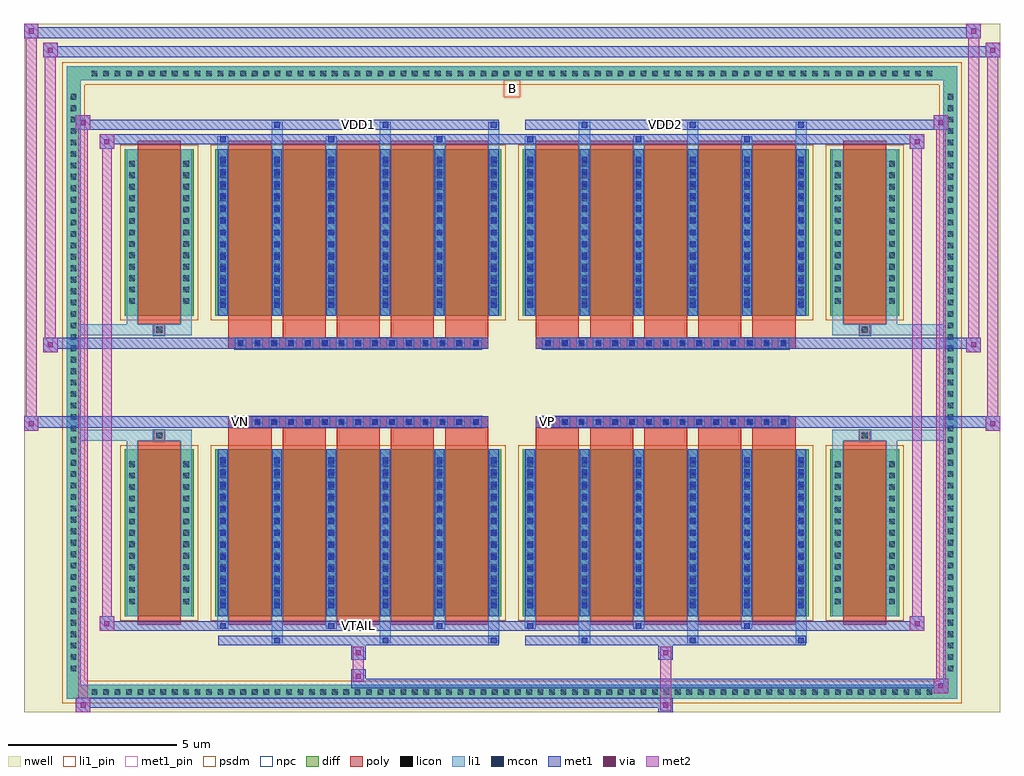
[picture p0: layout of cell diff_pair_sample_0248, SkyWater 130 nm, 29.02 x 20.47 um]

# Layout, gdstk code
import gdstk
lib = gdstk.Library(unit=1e-6, precision=5e-09)
def R(c, l, rs):  # rectangles x0, y0, x1, y1
    for r in rs: c.add(gdstk.rectangle(r[:2], r[2:], *l))
def A(c, l, x, y, w, h, nx, ny, dx, dy):  # array of equal rectangles
    R(c, l, [(x+i*dx, y+j*dy, x+i*dx+w, y+j*dy+h) for i in range(nx) for j in range(ny)])
def P(c, l, *ps):  # polygons
    for p in ps: c.add(gdstk.Polygon(p, *l))
nwell = (64, 20)
diff = (65, 20)
poly = (66, 20)
licon = (66, 44)
li1_pin = (67, 16)
li1 = (67, 20)
mcon = (67, 44)
met1_pin = (68, 16)
met1 = (68, 20)
via = (68, 44)
met2 = (69, 20)
psdm = (94, 20)
npc = (95, 20)

diff_pair_sample_0248 = lib.new_cell('diff_pair_sample_0248')
R(diff_pair_sample_0248, nwell, [(-14.51,-9.8,14.51,10.67), (-11.83,-7.99,-0.01,-0.805), (0.01,-7.99,11.83,-0.805), (-11.83,0.805,-0.01,7.99), (0.01,0.805,11.83,7.99)])
A(diff_pair_sample_0248, diff, -12.615, -9.4, 0.41, 0.41, 74, 2, 0.34, 18.39)
A(diff_pair_sample_0248, diff, -13.24, -8.705, 0.41, 0.41, 1, 51, 0, 0.34)
A(diff_pair_sample_0248, diff, 12.83, -8.705, 0.41, 0.41, 1, 51, 0, 0.34)
R(diff_pair_sample_0248, diff, [(-12.615,-9.4,12.615,-8.99), (-13.24,-8.705,-12.83,8.705), (12.83,-8.705,13.24,8.705), (-11.52,-6.945,-9.46,-1.985), (-8.82,-6.945,-0.32,-1.985), (0.32,-6.945,8.82,-1.985), (9.46,-6.945,11.52,-1.985), (-11.52,1.985,-9.46,6.945), (-8.82,1.985,-0.32,6.945), (0.32,1.985,8.82,6.945), (9.46,1.985,11.52,6.945), (-12.615,8.99,12.615,9.4)])
P(diff_pair_sample_0248, diff, [(13.24,9.4),(-13.24,9.4),(-13.24,-8.99),(-12.83,-8.99),(-12.83,8.99),(12.83,8.99),(12.83,-8.99),(-12.83,-8.99),(-13.24,-8.99),(-13.24,-9.4),(13.24,-9.4)])
A(diff_pair_sample_0248, poly, -8.43, -7.195, 1.28, 5.46, 5, 2, 1.61, 8.93)
A(diff_pair_sample_0248, poly, 0.71, -7.195, 1.28, 5.46, 5, 2, 1.61, 8.93)
A(diff_pair_sample_0248, poly, -8.43, -1.735, 1.28, 0.4, 5, 2, 1.61, 3.07)
A(diff_pair_sample_0248, poly, 0.71, -1.735, 1.28, 0.4, 5, 2, 1.61, 3.07)
A(diff_pair_sample_0248, poly, -8.235, -1.335, 0.33, 0.33, 15, 2, 0.5, 2.34)
A(diff_pair_sample_0248, poly, 0.905, -1.335, 0.33, 0.33, 15, 2, 0.5, 2.34)
R(diff_pair_sample_0248, poly, [(-11.13,-7.195,-9.85,-1.735), (9.85,-7.195,11.13,-1.735), (-10.655,-1.735,-10.325,-1.405), (-10.655,-1.735,-10.325,-1.405), (10.325,-1.735,10.655,-1.405), (10.325,-1.735,10.655,-1.405), (-8.43,-1.335,-0.71,-1.005), (0.71,-1.335,8.43,-1.005), (-8.43,1.005,-0.71,1.335), (0.71,1.005,8.43,1.335), (-10.655,1.405,-10.325,1.735), (-10.655,1.405,-10.325,1.735), (10.325,1.405,10.655,1.735), (10.325,1.405,10.655,1.735), (-11.13,1.735,-9.85,7.195), (9.85,1.735,11.13,7.195)])
A(diff_pair_sample_0248, licon, -12.495, -9.28, 0.17, 0.17, 74, 2, 0.34, 18.39)
A(diff_pair_sample_0248, licon, -13.12, -8.585, 0.17, 0.17, 1, 51, 0, 0.34)
A(diff_pair_sample_0248, licon, 12.95, -8.585, 0.17, 0.17, 1, 51, 0, 0.34)
A(diff_pair_sample_0248, licon, -11.38, -6.59, 0.17, 0.17, 1, 13, 0, 0.34)
A(diff_pair_sample_0248, licon, -9.77, -6.59, 0.17, 0.17, 1, 13, 0, 0.34)
A(diff_pair_sample_0248, licon, -8.68, -6.59, 0.17, 0.17, 6, 13, 1.61, 0.34)
A(diff_pair_sample_0248, licon, 0.46, -6.59, 0.17, 0.17, 6, 13, 1.61, 0.34)
A(diff_pair_sample_0248, licon, 9.6, -6.59, 0.17, 0.17, 1, 13, 0, 0.34)
A(diff_pair_sample_0248, licon, 11.21, -6.59, 0.17, 0.17, 1, 13, 0, 0.34)
A(diff_pair_sample_0248, licon, -8.155, -1.255, 0.17, 0.17, 15, 2, 0.5, 2.34)
A(diff_pair_sample_0248, licon, 0.985, -1.255, 0.17, 0.17, 15, 2, 0.5, 2.34)
A(diff_pair_sample_0248, licon, -11.38, 2.34, 0.17, 0.17, 1, 13, 0, 0.34)
A(diff_pair_sample_0248, licon, -9.77, 2.34, 0.17, 0.17, 1, 13, 0, 0.34)
A(diff_pair_sample_0248, licon, -8.68, 2.34, 0.17, 0.17, 6, 13, 1.61, 0.34)
A(diff_pair_sample_0248, licon, 0.46, 2.34, 0.17, 0.17, 6, 13, 1.61, 0.34)
A(diff_pair_sample_0248, licon, 9.6, 2.34, 0.17, 0.17, 1, 13, 0, 0.34)
A(diff_pair_sample_0248, licon, 11.21, 2.34, 0.17, 0.17, 1, 13, 0, 0.34)
R(diff_pair_sample_0248, licon, [(-10.575,-1.655,-10.405,-1.485), (10.405,-1.655,10.575,-1.485), (-10.575,1.485,-10.405,1.655), (10.405,1.485,10.575,1.655)])
R(diff_pair_sample_0248, li1_pin, [(-0.25,8.49,0.25,8.99)])
A(diff_pair_sample_0248, li1, -12.575, -9.36, 0.33, 0.33, 74, 2, 0.34, 18.39)
A(diff_pair_sample_0248, li1, -13.2, -8.665, 0.33, 0.33, 1, 51, 0, 0.34)
A(diff_pair_sample_0248, li1, 12.87, -8.665, 0.33, 0.33, 1, 51, 0, 0.34)
A(diff_pair_sample_0248, li1, -7.15, -7.75, 0.33, 0.805, 3, 2, 3.22, 14.695)
A(diff_pair_sample_0248, li1, -7.07, -7.75, 0.17, 0.17, 3, 2, 3.22, 15.33)
A(diff_pair_sample_0248, li1, 1.99, -7.75, 0.33, 0.805, 3, 2, 3.22, 14.695)
A(diff_pair_sample_0248, li1, 2.07, -7.75, 0.17, 0.17, 3, 2, 3.22, 15.33)
A(diff_pair_sample_0248, li1, -8.76, -7.32, 0.33, 0.375, 3, 2, 3.22, 14.265)
A(diff_pair_sample_0248, li1, -8.68, -7.32, 0.17, 0.17, 3, 2, 3.22, 14.47)
A(diff_pair_sample_0248, li1, 0.38, -7.32, 0.33, 0.375, 3, 2, 3.22, 14.265)
A(diff_pair_sample_0248, li1, 0.46, -7.32, 0.17, 0.17, 3, 2, 3.22, 14.47)
A(diff_pair_sample_0248, li1, -8.76, -6.945, 0.33, 4.96, 6, 2, 1.61, 8.93)
A(diff_pair_sample_0248, li1, 0.38, -6.945, 0.33, 4.96, 6, 2, 1.61, 8.93)
A(diff_pair_sample_0248, li1, -8.68, -6.71, 0.17, 0.17, 6, 13, 1.61, 0.36)
A(diff_pair_sample_0248, li1, -8.68, -6.71, 0.17, 4.49, 6, 2, 1.61, 8.93)
A(diff_pair_sample_0248, li1, 0.46, -6.71, 0.17, 0.17, 6, 13, 1.61, 0.36)
A(diff_pair_sample_0248, li1, 0.46, -6.71, 0.17, 4.49, 6, 2, 1.61, 8.93)
A(diff_pair_sample_0248, li1, -11.46, -6.67, 0.33, 0.33, 1, 13, 0, 0.34)
A(diff_pair_sample_0248, li1, -9.85, -6.67, 0.33, 0.33, 1, 13, 0, 0.34)
A(diff_pair_sample_0248, li1, -8.76, -6.67, 0.33, 0.33, 6, 13, 1.61, 0.34)
A(diff_pair_sample_0248, li1, 0.38, -6.67, 0.33, 0.33, 6, 13, 1.61, 0.34)
A(diff_pair_sample_0248, li1, 9.52, -6.67, 0.33, 0.33, 1, 13, 0, 0.34)
A(diff_pair_sample_0248, li1, 11.13, -6.67, 0.33, 0.33, 1, 13, 0, 0.34)
A(diff_pair_sample_0248, li1, -8.235, -1.335, 0.33, 0.33, 15, 2, 0.5, 2.34)
A(diff_pair_sample_0248, li1, 0.905, -1.335, 0.33, 0.33, 15, 2, 0.5, 2.34)
A(diff_pair_sample_0248, li1, -8.68, 2.22, 0.17, 0.17, 6, 13, 1.61, 0.36)
A(diff_pair_sample_0248, li1, 0.46, 2.22, 0.17, 0.17, 6, 13, 1.61, 0.36)
A(diff_pair_sample_0248, li1, -11.46, 2.26, 0.33, 0.33, 1, 13, 0, 0.34)
A(diff_pair_sample_0248, li1, -9.85, 2.26, 0.33, 0.33, 1, 13, 0, 0.34)
A(diff_pair_sample_0248, li1, -8.76, 2.26, 0.33, 0.33, 6, 13, 1.61, 0.34)
A(diff_pair_sample_0248, li1, 0.38, 2.26, 0.33, 0.33, 6, 13, 1.61, 0.34)
A(diff_pair_sample_0248, li1, 9.52, 2.26, 0.33, 0.33, 1, 13, 0, 0.34)
A(diff_pair_sample_0248, li1, 11.13, 2.26, 0.33, 0.33, 1, 13, 0, 0.34)
R(diff_pair_sample_0248, li1, [(-13.24,-9.4,-12.83,-8.99), (-13.24,-9.4,-12.83,-8.99), (-12.83,-9.4,12.83,-8.99), (12.83,-9.4,13.24,-8.99), (12.83,-9.4,13.24,-8.99), (-13.24,-8.99,-12.83,8.99), (12.83,-8.99,13.24,8.99), (-11.46,-6.945,-11.13,-1.985), (-9.85,-6.945,-9.52,-1.985), (9.52,-6.945,9.85,-1.985), (11.13,-6.945,11.46,-1.985), (-11.46,-1.985,-11.13,-1.405), (-9.85,-1.985,-9.52,-1.405), (9.52,-1.985,9.85,-1.405), (11.13,-1.985,11.46,-1.405), (-13.24,-1.735,-10.655,-1.405), (-11.46,-1.735,-10.655,-1.405), (-10.655,-1.735,-10.325,-1.405), (-10.325,-1.735,-9.52,-1.405), (9.52,-1.735,10.325,-1.405), (10.325,-1.735,10.655,-1.405), (10.325,-1.735,13.24,-1.405), (10.655,-1.735,11.46,-1.405), (-13.24,1.405,-10.655,1.735), (-11.46,1.405,-10.655,1.735), (-11.46,1.405,-11.13,1.985), (-10.655,1.405,-10.325,1.735), (-10.325,1.405,-9.52,1.735), (-9.85,1.405,-9.52,1.985), (9.52,1.405,10.325,1.735), (9.52,1.405,9.85,1.985), (10.325,1.405,10.655,1.735), (10.325,1.405,13.24,1.735), (10.655,1.405,11.46,1.735), (11.13,1.405,11.46,1.985), (-11.46,1.985,-11.13,6.945), (-9.85,1.985,-9.52,6.945), (9.52,1.985,9.85,6.945), (11.13,1.985,11.46,6.945), (-13.24,8.99,-12.83,9.4), (-13.24,8.99,-12.83,9.4), (-12.83,8.99,12.83,9.4), (12.83,8.99,13.24,9.4), (12.83,8.99,13.24,9.4)])
A(diff_pair_sample_0248, mcon, -7.07, -7.75, 0.17, 0.17, 3, 2, 3.22, 15.33)
A(diff_pair_sample_0248, mcon, 2.07, -7.75, 0.17, 0.17, 3, 2, 3.22, 15.33)
A(diff_pair_sample_0248, mcon, -8.68, -7.32, 0.17, 0.17, 3, 2, 3.22, 14.47)
A(diff_pair_sample_0248, mcon, 0.46, -7.32, 0.17, 0.17, 3, 2, 3.22, 14.47)
A(diff_pair_sample_0248, mcon, -8.68, -6.71, 0.17, 0.17, 6, 13, 1.61, 0.36)
A(diff_pair_sample_0248, mcon, 0.46, -6.71, 0.17, 0.17, 6, 13, 1.61, 0.36)
A(diff_pair_sample_0248, mcon, -8.155, -1.255, 0.17, 0.17, 15, 2, 0.5, 2.34)
A(diff_pair_sample_0248, mcon, 0.985, -1.255, 0.17, 0.17, 15, 2, 0.5, 2.34)
A(diff_pair_sample_0248, mcon, -8.68, 2.22, 0.17, 0.17, 6, 13, 1.61, 0.36)
A(diff_pair_sample_0248, mcon, 0.46, 2.22, 0.17, 0.17, 6, 13, 1.61, 0.36)
R(diff_pair_sample_0248, met1_pin, [(-4.705,-7.36,-4.435,-7.09), (-8.205,-1.295,-7.935,-1.025), (0.935,-1.295,1.205,-1.025), (-4.705,7.54,-4.435,7.81), (4.435,7.54,4.705,7.81)])
A(diff_pair_sample_0248, met1, -7.13, -7.81, 0.29, 0.29, 3, 2, 3.22, 15.33)
A(diff_pair_sample_0248, met1, 2.01, -7.81, 0.29, 0.29, 3, 2, 3.22, 15.33)
A(diff_pair_sample_0248, met1, -8.74, -7.38, 0.29, 0.29, 3, 2, 3.22, 14.47)
A(diff_pair_sample_0248, met1, 0.4, -7.38, 0.29, 0.29, 3, 2, 3.22, 14.47)
A(diff_pair_sample_0248, met1, -8.74, -6.945, 0.29, 4.96, 6, 2, 1.61, 8.93)
A(diff_pair_sample_0248, met1, 0.4, -6.945, 0.29, 4.96, 6, 2, 1.61, 8.93)
A(diff_pair_sample_0248, met1, -8.74, -6.77, 0.29, 0.29, 6, 13, 1.61, 0.36)
A(diff_pair_sample_0248, met1, 0.4, -6.77, 0.29, 0.29, 6, 13, 1.61, 0.36)
A(diff_pair_sample_0248, met1, -8.215, -1.315, 0.29, 0.29, 15, 2, 0.5, 2.34)
A(diff_pair_sample_0248, met1, 0.925, -1.315, 0.29, 0.29, 15, 2, 0.5, 2.34)
A(diff_pair_sample_0248, met1, -8.74, 2.16, 0.29, 0.29, 6, 13, 1.61, 0.36)
A(diff_pair_sample_0248, met1, 0.4, 2.16, 0.29, 0.29, 6, 13, 1.61, 0.36)
R(diff_pair_sample_0248, met1, [(-12.97,-9.8,-12.54,-9.37), (4.355,-9.8,4.785,-9.37), (-12.97,-9.66,4.785,-9.37), (12.54,-9.23,12.97,-8.8), (-4.785,-9.09,12.97,-8.8), (-4.785,-8.95,-4.355,-8.52), (-4.785,-8.24,-4.355,-7.81), (4.355,-8.24,4.785,-7.81), (-8.74,-7.81,-0.4,-7.52), (0.4,-7.81,8.74,-7.52), (-12.26,-7.38,-11.83,-6.95), (-12.26,-7.38,-8.74,-7.09), (-8.74,-7.38,-0.4,-7.09), (-0.4,-7.38,0.4,-7.09), (0.4,-7.38,8.74,-7.09), (8.74,-7.38,12.26,-7.09), (11.83,-7.38,12.26,-6.95), (-14.51,-1.435,-14.08,-1.005), (14.08,-1.435,14.51,-1.005), (-14.51,-1.335,-0.71,-1.005), (-8.43,-1.335,-0.71,-1.005), (0.71,-1.335,8.43,-1.005), (0.71,-1.335,14.51,-1.005), (-13.94,0.905,-13.51,1.335), (13.51,0.905,13.94,1.335), (-13.94,1.005,-8.43,1.335), (-8.43,1.005,-0.71,1.335), (0.71,1.005,8.43,1.335), (8.43,1.005,13.94,1.335), (-12.26,6.95,-11.83,7.38), (11.83,6.95,12.26,7.38), (-12.26,7.09,-8.74,7.38), (-8.74,7.09,-0.4,7.38), (-0.4,7.09,0.4,7.38), (0.4,7.09,8.74,7.38), (8.74,7.09,12.26,7.38), (-12.97,7.52,-12.54,7.95), (-12.97,7.52,-8.74,7.81), (-8.74,7.52,-0.4,7.81), (0.4,7.52,8.74,7.81), (8.74,7.52,12.97,7.81), (12.54,7.52,12.97,7.95), (-13.94,9.67,-13.51,10.1), (-13.94,9.67,-11.83,10), (-11.83,9.67,11.83,10), (11.83,9.67,14.51,10), (14.08,9.67,14.51,10.1), (-14.51,10.24,-14.08,10.67), (-14.51,10.24,-11.83,10.57), (-11.83,10.24,11.83,10.57), (11.83,10.24,13.94,10.57), (13.51,10.24,13.94,10.67)])
R(diff_pair_sample_0248, via, [(-12.83,-9.66,-12.68,-9.51), (4.495,-9.66,4.645,-9.51), (12.68,-9.09,12.83,-8.94), (-4.645,-8.81,-4.495,-8.66), (-4.645,-8.1,-4.495,-7.95), (4.495,-8.1,4.645,-7.95), (-12.12,-7.24,-11.97,-7.09), (11.97,-7.24,12.12,-7.09), (-14.37,-1.295,-14.22,-1.145), (14.22,-1.295,14.37,-1.145), (-13.8,1.045,-13.65,1.195), (13.65,1.045,13.8,1.195), (-12.12,7.09,-11.97,7.24), (11.97,7.09,12.12,7.24), (-12.83,7.66,-12.68,7.81), (12.68,7.66,12.83,7.81), (-13.8,9.81,-13.65,9.96), (14.22,9.81,14.37,9.96), (-14.37,10.38,-14.22,10.53), (13.65,10.38,13.8,10.53)])
R(diff_pair_sample_0248, met2, [(-12.97,-9.8,-12.54,-9.37), (-12.9,-9.8,-12.61,7.95), (-12.61,-9.8,-12.54,-9.37), (-12.92,-9.75,-12.59,-9.42), (4.405,-9.75,4.735,-9.42), (4.405,-9.42,4.735,-8.19), (12.54,-9.23,12.97,-8.8), (12.61,-9.23,12.9,7.95), (12.9,-9.23,12.97,-8.8), (12.59,-9.18,12.92,-8.85), (-4.735,-8.9,-4.405,-8.57), (-4.735,-8.57,-4.405,-8.19), (-4.735,-8.19,-4.405,-7.86), (4.405,-8.19,4.735,-7.86), (-12.26,-7.38,-11.83,-6.95), (-12.19,-7.38,-11.9,7.38), (-11.9,-7.38,-11.83,-6.95), (11.83,-7.38,12.26,-6.95), (11.9,-7.38,12.19,7.38), (12.19,-7.38,12.26,-6.95), (-12.21,-7.33,-11.88,-7), (11.88,-7.33,12.21,-7), (-14.51,-1.435,-14.08,-1.005), (-14.46,-1.435,-14.13,10.67), (-14.13,-1.435,-14.08,-1.005), (14.08,-1.435,14.51,-1.005), (14.13,-1.435,14.46,10.1), (14.46,-1.435,14.51,-1.005), (-14.46,-1.385,-14.13,-1.055), (14.13,-1.385,14.46,-1.055), (-13.94,0.905,-13.51,1.335), (-13.89,0.905,-13.56,10.1), (-13.56,0.905,-13.51,1.335), (13.51,0.905,13.94,1.335), (13.56,0.905,13.89,10.67), (13.89,0.905,13.94,1.335), (-13.89,0.955,-13.56,1.285), (13.56,0.955,13.89,1.285), (-12.26,6.95,-11.83,7.38), (-11.9,6.95,-11.83,7.38), (11.83,6.95,12.26,7.38), (12.19,6.95,12.26,7.38), (-12.21,7,-11.88,7.33), (11.88,7,12.21,7.33), (-12.97,7.52,-12.54,7.95), (-12.61,7.52,-12.54,7.95), (12.54,7.52,12.97,7.95), (12.9,7.52,12.97,7.95), (-12.92,7.57,-12.59,7.9), (12.59,7.57,12.92,7.9), (-13.94,9.67,-13.51,10.1), (-13.56,9.67,-13.51,10.1), (14.08,9.67,14.51,10.1), (14.46,9.67,14.51,10.1), (-13.89,9.72,-13.56,10.05), (14.13,9.72,14.46,10.05), (-14.51,10.24,-14.08,10.67), (-14.13,10.24,-14.08,10.67), (13.51,10.24,13.94,10.67), (13.89,10.24,13.94,10.67), (-14.46,10.29,-14.13,10.62), (13.56,10.29,13.89,10.62)])
R(diff_pair_sample_0248, psdm, [(-11.65,-7.075,-9.33,-1.855), (-8.95,-7.075,-0.19,-1.855), (0.19,-7.075,8.95,-1.855), (9.33,-7.075,11.65,-1.855), (-11.65,1.855,-9.33,7.075), (-8.95,1.855,-0.19,7.075), (0.19,1.855,8.95,7.075), (9.33,1.855,11.65,7.075)])
P(diff_pair_sample_0248, psdm, [(13.37,9.53),(-13.37,9.53),(-13.37,-8.86),(-12.7,-8.86),(-12.7,8.86),(12.7,8.86),(12.7,-8.86),(-12.7,-8.86),(-13.37,-8.86),(-13.37,-9.53),(13.37,-9.53)])
A(diff_pair_sample_0248, npc, -8.255, -1.355, 0.37, 0.37, 15, 2, 0.5, 2.34)
A(diff_pair_sample_0248, npc, 0.885, -1.355, 0.37, 0.37, 15, 2, 0.5, 2.34)
R(diff_pair_sample_0248, npc, [(-10.675,-1.755,-10.305,-1.385), (10.305,-1.755,10.675,-1.385), (-8.255,-1.355,-7.385,-0.985), (-8.255,-1.355,-7.385,-0.985), (-7.755,-1.355,-6.885,-0.985), (-7.755,-1.355,-6.885,-0.985), (-7.255,-1.355,-6.385,-0.985), (-7.255,-1.355,-6.385,-0.985), (-6.755,-1.355,-5.885,-0.985), (-6.755,-1.355,-5.885,-0.985), (-6.255,-1.355,-5.385,-0.985), (-6.255,-1.355,-5.385,-0.985), (-5.755,-1.355,-4.885,-0.985), (-5.755,-1.355,-4.885,-0.985), (-5.255,-1.355,-4.385,-0.985), (-5.255,-1.355,-4.385,-0.985), (-4.755,-1.355,-3.885,-0.985), (-4.755,-1.355,-3.885,-0.985), (-4.255,-1.355,-3.385,-0.985), (-4.255,-1.355,-3.385,-0.985), (-3.755,-1.355,-2.885,-0.985), (-3.755,-1.355,-2.885,-0.985), (-3.255,-1.355,-2.385,-0.985), (-3.255,-1.355,-2.385,-0.985), (-2.755,-1.355,-1.885,-0.985), (-2.755,-1.355,-1.885,-0.985), (-2.255,-1.355,-1.385,-0.985), (-2.255,-1.355,-1.385,-0.985), (-1.755,-1.355,-0.885,-0.985), (-1.755,-1.355,-0.885,-0.985), (0.885,-1.355,1.755,-0.985), (0.885,-1.355,1.755,-0.985), (1.385,-1.355,2.255,-0.985), (1.385,-1.355,2.255,-0.985), (1.885,-1.355,2.755,-0.985), (1.885,-1.355,2.755,-0.985), (2.385,-1.355,3.255,-0.985), (2.385,-1.355,3.255,-0.985), (2.885,-1.355,3.755,-0.985), (2.885,-1.355,3.755,-0.985), (3.385,-1.355,4.255,-0.985), (3.385,-1.355,4.255,-0.985), (3.885,-1.355,4.755,-0.985), (3.885,-1.355,4.755,-0.985), (4.385,-1.355,5.255,-0.985), (4.385,-1.355,5.255,-0.985), (4.885,-1.355,5.755,-0.985), (4.885,-1.355,5.755,-0.985), (5.385,-1.355,6.255,-0.985), (5.385,-1.355,6.255,-0.985), (5.885,-1.355,6.755,-0.985), (5.885,-1.355,6.755,-0.985), (6.385,-1.355,7.255,-0.985), (6.385,-1.355,7.255,-0.985), (6.885,-1.355,7.755,-0.985), (6.885,-1.355,7.755,-0.985), (7.385,-1.355,8.255,-0.985), (7.385,-1.355,8.255,-0.985), (-8.255,0.985,-7.385,1.355), (-8.255,0.985,-7.385,1.355), (-7.755,0.985,-6.885,1.355), (-7.755,0.985,-6.885,1.355), (-7.255,0.985,-6.385,1.355), (-7.255,0.985,-6.385,1.355), (-6.755,0.985,-5.885,1.355), (-6.755,0.985,-5.885,1.355), (-6.255,0.985,-5.385,1.355), (-6.255,0.985,-5.385,1.355), (-5.755,0.985,-4.885,1.355), (-5.755,0.985,-4.885,1.355), (-5.255,0.985,-4.385,1.355), (-5.255,0.985,-4.385,1.355), (-4.755,0.985,-3.885,1.355), (-4.755,0.985,-3.885,1.355), (-4.255,0.985,-3.385,1.355), (-4.255,0.985,-3.385,1.355), (-3.755,0.985,-2.885,1.355), (-3.755,0.985,-2.885,1.355), (-3.255,0.985,-2.385,1.355), (-3.255,0.985,-2.385,1.355), (-2.755,0.985,-1.885,1.355), (-2.755,0.985,-1.885,1.355), (-2.255,0.985,-1.385,1.355), (-2.255,0.985,-1.385,1.355), (-1.755,0.985,-0.885,1.355), (-1.755,0.985,-0.885,1.355), (0.885,0.985,1.755,1.355), (0.885,0.985,1.755,1.355), (1.385,0.985,2.255,1.355), (1.385,0.985,2.255,1.355), (1.885,0.985,2.755,1.355), (1.885,0.985,2.755,1.355), (2.385,0.985,3.255,1.355), (2.385,0.985,3.255,1.355), (2.885,0.985,3.755,1.355), (2.885,0.985,3.755,1.355), (3.385,0.985,4.255,1.355), (3.385,0.985,4.255,1.355), (3.885,0.985,4.755,1.355), (3.885,0.985,4.755,1.355), (4.385,0.985,5.255,1.355), (4.385,0.985,5.255,1.355), (4.885,0.985,5.755,1.355), (4.885,0.985,5.755,1.355), (5.385,0.985,6.255,1.355), (5.385,0.985,6.255,1.355), (5.885,0.985,6.755,1.355), (5.885,0.985,6.755,1.355), (6.385,0.985,7.255,1.355), (6.385,0.985,7.255,1.355), (6.885,0.985,7.755,1.355), (6.885,0.985,7.755,1.355), (7.385,0.985,8.255,1.355), (7.385,0.985,8.255,1.355), (-10.675,1.385,-10.305,1.755), (10.305,1.385,10.675,1.755)])
diff_pair_sample_0248.add(gdstk.Label('VTAIL', (-4.57,-7.225), layer=68, texttype=5))
diff_pair_sample_0248.add(gdstk.Label('VN', (-8.07,-1.16), layer=68, texttype=5))
diff_pair_sample_0248.add(gdstk.Label('VP', (1.07,-1.16), layer=68, texttype=5))
diff_pair_sample_0248.add(gdstk.Label('B', (0,8.74), layer=67, texttype=5))
diff_pair_sample_0248.add(gdstk.Label('VDD2', (4.57,7.675), layer=68, texttype=5))
diff_pair_sample_0248.add(gdstk.Label('VDD1', (-4.57,7.675), layer=68, texttype=5))

lib.write_gds('diff_pair_sample_0248.gds')
